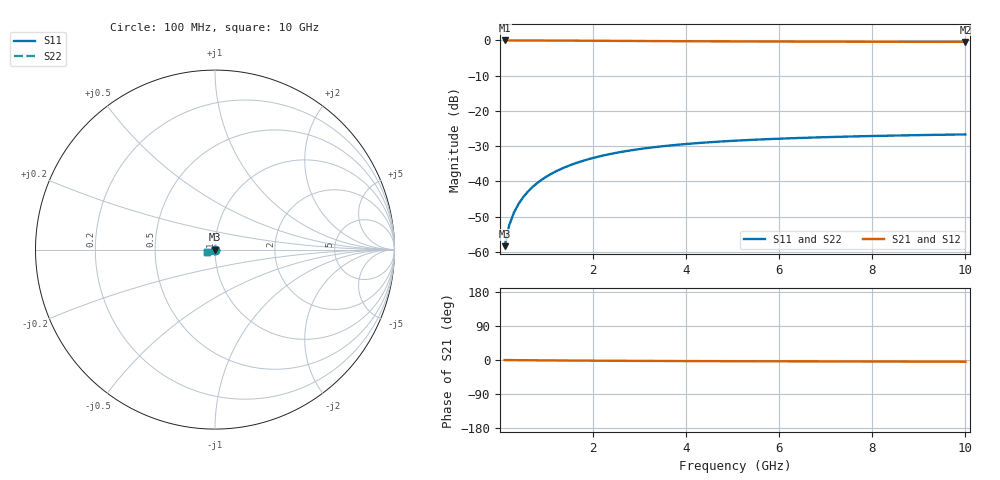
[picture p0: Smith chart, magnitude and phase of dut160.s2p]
! Touchstone file exported from HFSS 2024.1.0
!  File:  C:/UserFiles/LocalFiles/RDL_TSV_Batchsim/temp_TSV1_160_1778766057.aedt
!  Generated:  09:46:16 PM May 14, 2026
!  Design:  TSV1
!  Project:  temp_TSV1_160_1778766057
!  Setup:  Setup1
!  Solution:  Sweep
! Variables:
!  dtsv = 10.96um
!  hbump = 3um
!  htsv = 68.41um
!  lrdl = 252.1521522um
!  p = 40
!  p1 = 41.77um
!  t = 500um
!  trdl = 3um
!  wrdl = 24.89489489um
# GHz S MA R 50.000000
! Terminal data exported
! Port[1] = TSV22_T1
! Port[2] = TSV22_T2
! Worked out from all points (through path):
!   100 points, 100 MHz to 10 GHz, reference 50 ohm
!   highest |S21| = 0.00 dB at 100 MHz (marker M1); lowest = -0.4 dB at 10 GHz (marker M2)
!   lowest |S11| = -58.4 dB at 100 MHz (marker M3), VSWR 1.00, Z = 50 - j0.12 ohm
!   |S11| at or under -10 dB: start of sweep to end of sweep
!   |S22| runs from -58.4 to -26.7 dB; largest |S21 - S12| = 4e-15
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0.1  0.001204 -86.1  0.9999 -0.1  0.9999 -0.1  0.001204 -86.1
! Gamma 0 0 0 0
! Port Impedance 50 0 50 0
0.2  0.002401 -90.5  0.9997 -0.2  0.9997 -0.2  0.002401 -90.5
0.3  0.003599 -92.9  0.9996 -0.3  0.9996 -0.3  0.003599 -92.9
0.4  0.004793 -94.9  0.9993 -0.4  0.9993 -0.4  0.004793 -94.9
0.5  0.005979 -96.6  0.9991 -0.5  0.9991 -0.5  0.005979 -96.6
0.6  0.007154 -98.3  0.9987 -0.6  0.9987 -0.6  0.007154 -98.3
0.7  0.008315 -99.8  0.9983 -0.7  0.9983 -0.7  0.008315 -99.8
0.8  0.00946 -101.4  0.9978 -0.8  0.9978 -0.8  0.00946 -101.4
0.9  0.01059 -102.9  0.9973 -0.9  0.9973 -0.9  0.01059 -102.9
1.1  0.01278 -105.7  0.9962 -1.1  0.9962 -1.1  0.01278 -105.7
1.4  0.01591 -109.9  0.9942 -1.4  0.9942 -1.4  0.01591 -109.9
1.6  0.01787 -112.5  0.9928 -1.5  0.9928 -1.5  0.01787 -112.5
1.8  0.01973 -115.0  0.9913 -1.7  0.9913 -1.7  0.01973 -115.0
2.1  0.02232 -118.6  0.989 -1.9  0.989 -1.9  0.02232 -118.6
2.5  0.02542 -123.1  0.9859 -2.1  0.9859 -2.1  0.02542 -123.1
2.9  0.02813 -127.1  0.9828 -2.3  0.9828 -2.3  0.02813 -127.1
3.4  0.03103 -131.6  0.9793 -2.6  0.9793 -2.6  0.03103 -131.6
4.2  0.03475 -137.7  0.9741 -2.9  0.9741 -2.9  0.03475 -137.7
5.1  0.03792 -143.4  0.9694 -3.2  0.9694 -3.2  0.03792 -143.4
6.7  0.04184 -151.2  0.963 -3.6  0.963 -3.6  0.04184 -151.2
8.4  0.0446 -157.5  0.9583 -4.0  0.9583 -4.0  0.0446 -157.5
10  0.04639 -162.3  0.9552 -4.5  0.9552 -4.5  0.04639 -162.3
